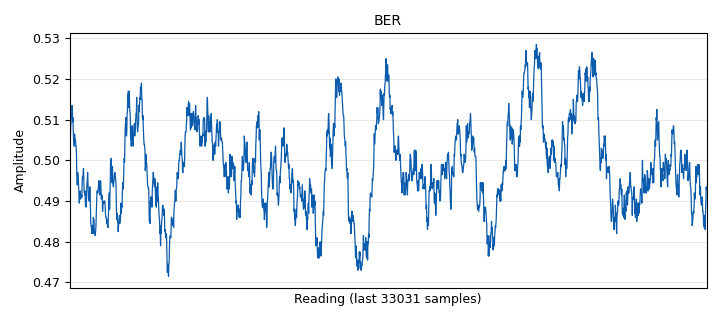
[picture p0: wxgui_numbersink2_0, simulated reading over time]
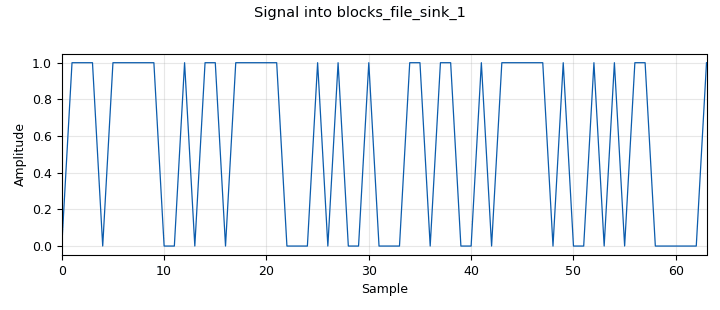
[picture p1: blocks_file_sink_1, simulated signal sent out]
<?xml version='1.0' encoding='utf-8'?>
<flow_graph>
<block>
<key>options</key>
<param><key>id</key><value>mpsk_demod</value></param>
<param><key>title</key><value>MPSK Demod Demo</value></param>
<param><key>generate_options</key><value>wx_gui</value></param>
<param><key>category</key><value>Custom</value></param>
</block>
<block>
<key>variable</key>
<param><key>id</key><value>samps_per_sym</value></param>
<param><key>value</key><value>4</value></param>
</block>
<block>
<key>variable</key>
<param><key>id</key><value>samp_rate</value></param>
<param><key>value</key><value>32000</value></param>
</block>
<block>
<key>digital_dxpsk_mod</key>
<param><key>id</key><value>digital_dxpsk_mod_0</value></param>
<param><key>type</key><value>dqpsk</value></param>
<param><key>samples_per_symbol</key><value>samps_per_sym</value></param>
<param><key>excess_bw</key><value>0.35</value></param>
<param><key>mod_code</key><value>"gray"</value></param>
<param><key>verbose</key><value>False</value></param>
<param><key>log</key><value>False</value></param>
</block>
<block>
<key>qtgui_freq_sink_x</key>
<param><key>id</key><value>qtgui_freq_sink_x_0</value></param>
<param><key>_enabled</key><value>False</value></param>
<param><key>type</key><value>complex</value></param>
<param><key>name</key><value>QT GUI Plot</value></param>
<param><key>fftsize</key><value>1024</value></param>
<param><key>wintype</key><value>firdes.WIN_BLACKMAN_hARRIS</value></param>
<param><key>fc</key><value>0</value></param>
<param><key>bw</key><value>samp_rate</value></param>
<param><key>gui_hint</key><value>notebook@1</value></param>
</block>
<block>
<key>qtgui_const_sink_x</key>
<param><key>id</key><value>qtgui_const_sink_x_0</value></param>
<param><key>_enabled</key><value>False</value></param>
<param><key>type</key><value>complex</value></param>
<param><key>name</key><value>QT GUI Plot</value></param>
<param><key>size</key><value>1024</value></param>
<param><key>gui_hint</key><value>notebook@0</value></param>
</block>
<block>
<key>variable_qtgui_range</key>
<param><key>id</key><value>noise</value></param>
<param><key>_enabled</key><value>False</value></param>
<param><key>label</key><value>Noise</value></param>
<param><key>value</key><value>0.1</value></param>
<param><key>start</key><value>0</value></param>
<param><key>stop</key><value>1</value></param>
<param><key>step</key><value>0.01</value></param>
<param><key>orient</key><value>Qt.Horizontal</value></param>
</block>
<block>
<key>variable_qtgui_range</key>
<param><key>id</key><value>freq_off</value></param>
<param><key>_enabled</key><value>False</value></param>
<param><key>label</key><value>Freq. Offset</value></param>
<param><key>value</key><value>0</value></param>
<param><key>start</key><value>-0.5</value></param>
<param><key>stop</key><value>0.5</value></param>
<param><key>step</key><value>0.01</value></param>
<param><key>orient</key><value>Qt.Horizontal</value></param>
</block>
<block>
<key>qtgui_tab_widget</key>
<param><key>id</key><value>notebook</value></param>
<param><key>_enabled</key><value>False</value></param>
<param><key>num_tabs</key><value>2</value></param>
<param><key>label0</key><value>Constellation</value></param>
<param><key>label1</key><value>Spectrum</value></param>
</block>
<block>
<key>blks2_error_rate</key>
<param><key>id</key><value>blks2_error_rate_0</value></param>
<param><key>type</key><value>'BER'</value></param>
<param><key>win_size</key><value>1000</value></param>
<param><key>bits_per_symbol</key><value>2</value></param>
</block>
<block>
<key>variable_slider</key>
<param><key>id</key><value>delay_rjm</value></param>
<param><key>label</key><value></value></param>
<param><key>value</key><value>50</value></param>
<param><key>min</key><value>0</value></param>
<param><key>max</key><value>100</value></param>
<param><key>num_steps</key><value>100</value></param>
<param><key>style</key><value>wx.SL_HORIZONTAL</value></param>
<param><key>converver</key><value>int_converter</value></param>
</block>
<block>
<key>blocks_throttle</key>
<param><key>id</key><value>blocks_throttle_0</value></param>
<param><key>type</key><value>complex</value></param>
<param><key>samples_per_second</key><value>samp_rate</value></param>
</block>
<block>
<key>variable_slider</key>
<param><key>id</key><value>variable_slider_0</value></param>
<param><key>label</key><value></value></param>
<param><key>value</key><value>50</value></param>
<param><key>min</key><value>0</value></param>
<param><key>max</key><value>100</value></param>
<param><key>num_steps</key><value>100</value></param>
<param><key>style</key><value>wx.SL_HORIZONTAL</value></param>
<param><key>converver</key><value>float_converter</value></param>
</block>
<block>
<key>wxgui_numbersink2</key>
<param><key>id</key><value>wxgui_numbersink2_0</value></param>
<param><key>type</key><value>float</value></param>
<param><key>title</key><value>BER</value></param>
<param><key>units</key><value>%</value></param>
<param><key>samp_rate</key><value>samp_rate</value></param>
<param><key>min_value</key><value>0.0</value></param>
<param><key>max_value</key><value>1.0</value></param>
<param><key>factor</key><value>100</value></param>
<param><key>decimal_places</key><value>4</value></param>
<param><key>ref_level</key><value>0</value></param>
<param><key>number_rate</key><value>15</value></param>
<param><key>peak_hold</key><value>False</value></param>
<param><key>average</key><value>False</value></param>
<param><key>avg_alpha</key><value>0</value></param>
<param><key>show_gauge</key><value>True</value></param>
<param><key>grid_pos</key><value>1, 0, 1, 1</value></param>
</block>
<block>
<key>blocks_delay</key>
<param><key>id</key><value>blocks_delay_0</value></param>
<param><key>type</key><value>byte</value></param>
<param><key>delay</key><value>delay_rjm</value></param>
</block>
<block>
<key>digital_dxpsk_demod</key>
<param><key>id</key><value>digital_dxpsk_demod_0</value></param>
<param><key>type</key><value>dbpsk</value></param>
<param><key>samples_per_symbol</key><value>4</value></param>
<param><key>excess_bw</key><value>0.35</value></param>
<param><key>freq_bw</key><value>0/100.0</value></param>
<param><key>phase_bw</key><value>6.28/100.0</value></param>
<param><key>timing_bw</key><value>6.28/100.0</value></param>
<param><key>mod_code</key><value>"gray"</value></param>
<param><key>verbose</key><value>False</value></param>
<param><key>log</key><value>False</value></param>
<param><key>sync_out</key><value>False</value></param>
</block>
<block>
<key>blocks_file_sink</key>
<param><key>id</key><value>blocks_file_sink_1</value></param>
<param><key>file</key><value>rjm_out.txt</value></param>
<param><key>type</key><value>byte</value></param>
</block>
<block>
<key>analog_random_source_x</key>
<param><key>id</key><value>analog_random_source_x_0</value></param>
<param><key>type</key><value>byte</value></param>
<param><key>min</key><value>0</value></param>
<param><key>max</key><value>2**8</value></param>
<param><key>num_samps</key><value>10000</value></param>
<param><key>repeat</key><value>True</value></param>
</block>
<block>
<key>blocks_file_sink</key>
<param><key>id</key><value>blocks_file_sink_0</value></param>
<param><key>file</key><value>rjm_in.txt</value></param>
<param><key>type</key><value>byte</value></param>
</block>
<connection><source_block_id>analog_random_source_x_0</source_block_id><sink_block_id>digital_dxpsk_mod_0</sink_block_id><source_key>0</source_key><sink_key>0</sink_key></connection>
<connection><source_block_id>blks2_error_rate_0</source_block_id><sink_block_id>wxgui_numbersink2_0</sink_block_id><source_key>0</source_key><sink_key>0</sink_key></connection>
<connection><source_block_id>digital_dxpsk_mod_0</source_block_id><sink_block_id>blocks_throttle_0</sink_block_id><source_key>0</source_key><sink_key>0</sink_key></connection>
<connection><source_block_id>blocks_throttle_0</source_block_id><sink_block_id>digital_dxpsk_demod_0</sink_block_id><source_key>0</source_key><sink_key>0</sink_key></connection>
<connection><source_block_id>digital_dxpsk_demod_0</source_block_id><sink_block_id>blks2_error_rate_0</sink_block_id><source_key>0</source_key><sink_key>1</sink_key></connection>
<connection><source_block_id>analog_random_source_x_0</source_block_id><sink_block_id>blocks_delay_0</sink_block_id><source_key>0</source_key><sink_key>0</sink_key></connection>
<connection><source_block_id>blocks_delay_0</source_block_id><sink_block_id>blks2_error_rate_0</sink_block_id><source_key>0</source_key><sink_key>0</sink_key></connection>
<connection><source_block_id>digital_dxpsk_demod_0</source_block_id><sink_block_id>blocks_file_sink_1</sink_block_id><source_key>0</source_key><sink_key>0</sink_key></connection>
<connection><source_block_id>analog_random_source_x_0</source_block_id><sink_block_id>blocks_file_sink_0</sink_block_id><source_key>0</source_key><sink_key>0</sink_key></connection>
</flow_graph>
